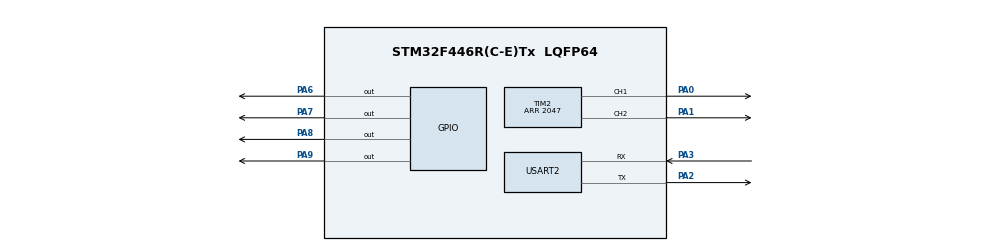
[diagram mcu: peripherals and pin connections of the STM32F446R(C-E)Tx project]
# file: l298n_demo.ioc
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Dma.Request0=USART2_RX
Dma.USART2_RX.0.Direction=DMA_PERIPH_TO_MEMORY
Dma.USART2_RX.0.FIFOMode=DMA_FIFOMODE_DISABLE
Dma.USART2_RX.0.Instance=DMA1_Stream5
Dma.USART2_RX.0.MemDataAlignment=DMA_MDATAALIGN_BYTE
Dma.USART2_RX.0.MemInc=DMA_MINC_ENABLE
Dma.USART2_RX.0.Mode=DMA_CIRCULAR
Dma.USART2_RX.0.PeriphDataAlignment=DMA_PDATAALIGN_BYTE
Dma.USART2_RX.0.PeriphInc=DMA_PINC_DISABLE
Dma.USART2_RX.0.Priority=DMA_PRIORITY_LOW
Mcu.Family=STM32F4
Mcu.Name=STM32F446R(C-E)Tx
Mcu.Package=LQFP64
NVIC.DMA1_Stream5_IRQn=true\:0\:0\:false\:false\:true\:false\:true\:true
NVIC.PriorityGroup=NVIC_PRIORITYGROUP_4
NVIC.USART2_IRQn=true\:0\:0\:false\:false\:true\:true\:true\:true
PA0-WKUP.Signal=S_TIM2_CH1_ETR
PA1.Signal=S_TIM2_CH2
PA2.Mode=Asynchronous
PA2.Signal=USART2_TX
PA3.Mode=Asynchronous
PA3.Signal=USART2_RX
PA6.Signal=GPIO_Output
PA7.Signal=GPIO_Output
PA8.Signal=GPIO_Output
PA9.Signal=GPIO_Output
ProjectManager.HeapSize=0x200
ProjectManager.StackSize=0x400
ProjectManager.TargetToolchain=STM32CubeIDE
RCC.CortexFreq_Value=16000000
RCC.USBFreq_Value=96000000
RCC.VCOOutputFreq_Value=192000000
SH.S_TIM2_CH1_ETR.0=TIM2_CH1,PWM Generation1 CH1
SH.S_TIM2_CH2.0=TIM2_CH2,PWM Generation2 CH2
TIM2.Channel-PWM\ Generation1\ CH1=TIM_CHANNEL_1
TIM2.Channel-PWM\ Generation2\ CH2=TIM_CHANNEL_2
TIM2.Period=2047
USART2.VirtualMode=VM_ASYNC
board=custom

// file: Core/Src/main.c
/* USER CODE BEGIN Header */
/**
  ******************************************************************************
  * @file           : main.c
  * @brief          : Main program body
  ******************************************************************************
  * @attention
  *
  * Copyright (c) 2024 STMicroelectronics.
  * All rights reserved.
  *
  * This software is licensed under terms that can be found in the LICENSE file
  * in the root directory of this software component.
  * If no LICENSE file comes with this software, it is provided AS-IS.
  *
  ******************************************************************************
  */
/* USER CODE END Header */
#include "main.h"

/* USER CODE BEGIN Includes */
#include "l298n.h"
#include <stdio.h>
#include <stdlib.h>
#include <string.h>
/* USER CODE END Includes */

TIM_HandleTypeDef htim2;

UART_HandleTypeDef huart2;
DMA_HandleTypeDef hdma_usart2_rx;

/* USER CODE BEGIN PV */
uint8_t txdata[30] = "India is Gay \n\r";
uint8_t rx_indx;
uint8_t rxdata[4];
uint8_t rx_buffer[100];

/* USER CODE END PV */

void SystemClock_Config(void);
static void MX_GPIO_Init(void);
static void MX_DMA_Init(void);
static void MX_TIM2_Init(void);
static void MX_USART2_UART_Init(void);

int main(void)
{

  /* MCU Configuration--------------------------------------------------------*/

  /* Reset of all peripherals, Initializes the Flash interface and the Systick. */
  HAL_Init();

  /* Configure the system clock */
  SystemClock_Config();

  /* Initialize all configured peripherals */
  MX_GPIO_Init();
  MX_DMA_Init();
  MX_TIM2_Init();
  MX_USART2_UART_Init();
  /* USER CODE BEGIN 2 */
  l298n_init();

  //HAL_UART_Receive_IT(&huart2, rx_data, 4);
  HAL_UART_Transmit(&huart2, txdata, 30, 100);
  HAL_UART_Receive_DMA(&huart2, rxdata, sizeof(rxdata));
  /* USER CODE END 2 */

  /* Infinite loop */
  while (1)
  {

    /* USER CODE BEGIN 3 */

	  //Command based control
	  /*
	  if (HAL_UART_Receive(&huart2, (uint8_t*)uartData, 3, HAL_MAX_DELAY) == HAL_OK) {
		  uartBuffer[3] = '\0';
		  char motor = uartBuffer[0];
		  char direction = uartBuffer[1];
		  char speed = uartBuffer[2];
		  printf("received motor:%c, direction:%c, speed:%c\n", motor, direction, speed);
		  l298n_setMotor(motor, direction, speed);
	  }
	  HAL_Delay(5);
	  */

	  // Synchronized motor test
	  HAL_GPIO_WritePin(GPIOA, GPIO_PIN_8, GPIO_PIN_SET);   // Set IN1 to HIGH
	  HAL_GPIO_WritePin(GPIOA, GPIO_PIN_9, GPIO_PIN_RESET); // Set IN2 to LOW
	  HAL_GPIO_WritePin(GPIOA, GPIO_PIN_6, GPIO_PIN_SET);   // Set IN3 to HIGH
	  HAL_GPIO_WritePin(GPIOA, GPIO_PIN_7, GPIO_PIN_RESET); // Set IN4 to LOW

	  for(int i = 0; i < 255; i++) {
	  		  __HAL_TIM_SET_COMPARE(&htim2, TIM_CHANNEL_1, i);
	  	      __HAL_TIM_SET_COMPARE(&htim2, TIM_CHANNEL_2, i);
	  		  HAL_Delay(10);
	  }

	  HAL_GPIO_WritePin(GPIOA, GPIO_PIN_8, GPIO_PIN_RESET); // Set IN1 to LOW
	  HAL_GPIO_WritePin(GPIOA, GPIO_PIN_9, GPIO_PIN_SET);   // Set IN2 to HIGH
	  HAL_GPIO_WritePin(GPIOA, GPIO_PIN_6, GPIO_PIN_RESET); // Set IN3 to LOW
	  HAL_GPIO_WritePin(GPIOA, GPIO_PIN_7, GPIO_PIN_SET);   // Set IN4 to HIGH

	  for(int j = 255; j > 0; j--) {
		  __HAL_TIM_SET_COMPARE(&htim2, TIM_CHANNEL_1, j);
	  	  __HAL_TIM_SET_COMPARE(&htim2, TIM_CHANNEL_2, j);
	  	  HAL_Delay(10);
	  }

	  /* Individual motor tests
	  // Motor 1: IN1 and IN2
	  // Spin Motor 1 clockwise
	  HAL_GPIO_WritePin(GPIOA, GPIO_PIN_8, GPIO_PIN_SET);   // Set IN1 to HIGH
	  HAL_GPIO_WritePin(GPIOA, GPIO_PIN_9, GPIO_PIN_RESET); // Set IN2 to LOW

	  for(int i = 0; i < 255; i++) {
		  __HAL_TIM_SET_COMPARE(&htim2, TIM_CHANNEL_1, i);
	      HAL_Delay(10);
	  }

	  // Spin Motor 1 counterclockwise
	  HAL_GPIO_WritePin(GPIOA, GPIO_PIN_8, GPIO_PIN_RESET); // Set IN1 to LOW
	  HAL_GPIO_WritePin(GPIOA, GPIO_PIN_9, GPIO_PIN_SET);   // Set IN2 to HIGH

	  for(int j = 255; j > 0; j--) {
		  __HAL_TIM_SET_COMPARE(&htim2, TIM_CHANNEL_1, j);
	  	  __HAL_TIM_SET_COMPARE(&htim2, TIM_CHANNEL_2, j);
	  	  HAL_Delay(10);
	  	  }

	  for(int j = 255; j > 0; j--) {
	      __HAL_TIM_SET_COMPARE(&htim2, TIM_CHANNEL_1, j);
	      HAL_Delay(10);
	  }

	  // Motor 2: IN3 and IN4
	  // Spin Motor 2 clockwise
	  HAL_GPIO_WritePin(GPIOA, GPIO_PIN_6, GPIO_PIN_SET);   // Set IN3 to HIGH
	  HAL_GPIO_WritePin(GPIOA, GPIO_PIN_7, GPIO_PIN_RESET); // Set IN4 to LOW

	  for(int k = 0; k < 255; k++) {
	      __HAL_TIM_SET_COMPARE(&htim2, TIM_CHANNEL_2, k);
	      HAL_Delay(10);
	  }

	  // Spin Motor 2 counterclockwise
	  HAL_GPIO_WritePin(GPIOA, GPIO_PIN_6, GPIO_PIN_RESET); // Set IN3 to LOW
	  HAL_GPIO_WritePin(GPIOA, GPIO_PIN_7, GPIO_PIN_SET);   // Set IN4 to HIGH

	  for(int l = 255; l > 0; l--) {
	      __HAL_TIM_SET_COMPARE(&htim2, TIM_CHANNEL_2, l);
	      HAL_Delay(10);
	  }
	  */
  }
  /* USER CODE END 3 */
}

void SystemClock_Config(void)
{
  RCC_OscInitTypeDef RCC_OscInitStruct = {0};
  RCC_ClkInitTypeDef RCC_ClkInitStruct = {0};

  /** Configure the main internal regulator output voltage
  */
  __HAL_RCC_PWR_CLK_ENABLE();
  __HAL_PWR_VOLTAGESCALING_CONFIG(PWR_REGULATOR_VOLTAGE_SCALE3);

  /** Initializes the RCC Oscillators according to the specified parameters
  * in the RCC_OscInitTypeDef structure.
  */
  RCC_OscInitStruct.OscillatorType = RCC_OSCILLATORTYPE_HSI;
  RCC_OscInitStruct.HSIState = RCC_HSI_ON;
  RCC_OscInitStruct.HSICalibrationValue = RCC_HSICALIBRATION_DEFAULT;
  RCC_OscInitStruct.PLL.PLLState = RCC_PLL_NONE;
  if (HAL_RCC_OscConfig(&RCC_OscInitStruct) != HAL_OK)
  {
    Error_Handler();
  }

  /** Initializes the CPU, AHB and APB buses clocks
  */
  RCC_ClkInitStruct.ClockType = RCC_CLOCKTYPE_HCLK|RCC_CLOCKTYPE_SYSCLK
                              |RCC_CLOCKTYPE_PCLK1|RCC_CLOCKTYPE_PCLK2;
  RCC_ClkInitStruct.SYSCLKSource = RCC_SYSCLKSOURCE_HSI;
  RCC_ClkInitStruct.AHBCLKDivider = RCC_SYSCLK_DIV1;
  RCC_ClkInitStruct.APB1CLKDivider = RCC_HCLK_DIV1;
  RCC_ClkInitStruct.APB2CLKDivider = RCC_HCLK_DIV1;

  if (HAL_RCC_ClockConfig(&RCC_ClkInitStruct, FLASH_LATENCY_0) != HAL_OK)
  {
    Error_Handler();
  }
}

static void MX_TIM2_Init(void)
{

  TIM_MasterConfigTypeDef sMasterConfig = {0};
  TIM_OC_InitTypeDef sConfigOC = {0};

  htim2.Instance = TIM2;
  htim2.Init.Prescaler = 0;
  htim2.Init.CounterMode = TIM_COUNTERMODE_UP;
  htim2.Init.Period = 2047;
  htim2.Init.ClockDivision = TIM_CLOCKDIVISION_DIV1;
  htim2.Init.AutoReloadPreload = TIM_AUTORELOAD_PRELOAD_DISABLE;
  if (HAL_TIM_PWM_Init(&htim2) != HAL_OK)
  {
    Error_Handler();
  }
  sMasterConfig.MasterOutputTrigger = TIM_TRGO_RESET;
  sMasterConfig.MasterSlaveMode = TIM_MASTERSLAVEMODE_DISABLE;
  if (HAL_TIMEx_MasterConfigSynchronization(&htim2, &sMasterConfig) != HAL_OK)
  {
    Error_Handler();
  }
  sConfigOC.OCMode = TIM_OCMODE_PWM1;
  sConfigOC.Pulse = 0;
  sConfigOC.OCPolarity = TIM_OCPOLARITY_HIGH;
  sConfigOC.OCFastMode = TIM_OCFAST_DISABLE;
  if (HAL_TIM_PWM_ConfigChannel(&htim2, &sConfigOC, TIM_CHANNEL_1) != HAL_OK)
  {
    Error_Handler();
  }
  if (HAL_TIM_PWM_ConfigChannel(&htim2, &sConfigOC, TIM_CHANNEL_2) != HAL_OK)
  {
    Error_Handler();
  }
  HAL_TIM_MspPostInit(&htim2);

}

static void MX_USART2_UART_Init(void)
{

  huart2.Instance = USART2;
  huart2.Init.BaudRate = 115200;
  huart2.Init.WordLength = UART_WORDLENGTH_8B;
  huart2.Init.StopBits = UART_STOPBITS_1;
  huart2.Init.Parity = UART_PARITY_NONE;
  huart2.Init.Mode = UART_MODE_TX_RX;
  huart2.Init.HwFlowCtl = UART_HWCONTROL_NONE;
  huart2.Init.OverSampling = UART_OVERSAMPLING_16;
  if (HAL_UART_Init(&huart2) != HAL_OK)
  {
    Error_Handler();
  }

}

static void MX_DMA_Init(void)
{

  /* DMA controller clock enable */
  __HAL_RCC_DMA1_CLK_ENABLE();

  /* DMA interrupt init */
  /* DMA1_Stream5_IRQn interrupt configuration */
  HAL_NVIC_SetPriority(DMA1_Stream5_IRQn, 0, 0);
  HAL_NVIC_EnableIRQ(DMA1_Stream5_IRQn);

}

static void MX_GPIO_Init(void)
{
  GPIO_InitTypeDef GPIO_InitStruct = {0};

  /* GPIO Ports Clock Enable */
  __HAL_RCC_GPIOA_CLK_ENABLE();

  /*Configure GPIO pin Output Level */
  HAL_GPIO_WritePin(GPIOA, GPIO_PIN_6|GPIO_PIN_7|GPIO_PIN_8|GPIO_PIN_9, GPIO_PIN_RESET);

  /*Configure GPIO pins : PA6 PA7 PA8 PA9 */
  GPIO_InitStruct.Pin = GPIO_PIN_6|GPIO_PIN_7|GPIO_PIN_8|GPIO_PIN_9;
  GPIO_InitStruct.Mode = GPIO_MODE_OUTPUT_PP;
  GPIO_InitStruct.Pull = GPIO_NOPULL;
  GPIO_InitStruct.Speed = GPIO_SPEED_FREQ_LOW;
  HAL_GPIO_Init(GPIOA, &GPIO_InitStruct);

}

/* USER CODE BEGIN 4 */
int _write(int file, char *ptr, int len)
{
  (void)file;
  int DataIdx;

  for (DataIdx = 0; DataIdx < len; DataIdx++)
  {
    ITM_SendChar(*ptr++);
  }
  return len;
}

void HAL_UART_RxCpltCallback(UART_HandleTypeDef *huart)
{
    /* Prevent unused argument(s) compilation warning */
    UNUSED(huart);
    /* NOTE: This function should not be modified, when the callback is needed,
             the HAL_UART_RxCpltCallback could be implemented in the user file
     */
    HAL_UART_Transmit(&huart2, rxdata, 4, 10);
}

/* USER CODE END 4 */

void Error_Handler(void)
{
  __disable_irq();
  while (1)
  {
  }
}
